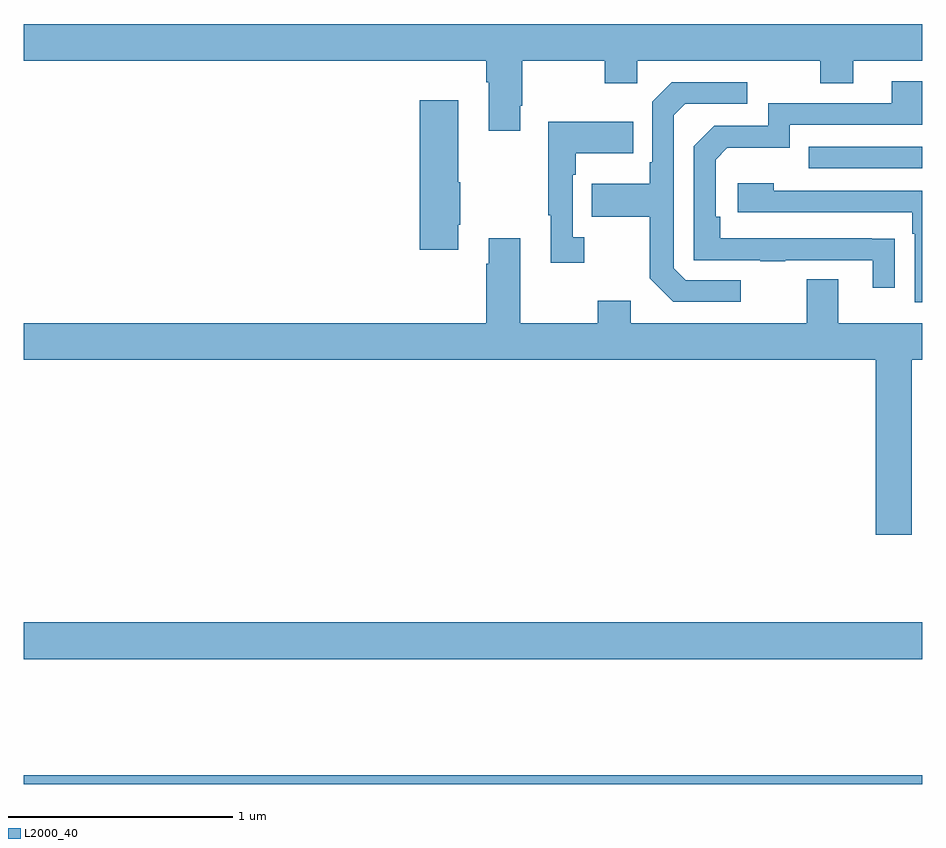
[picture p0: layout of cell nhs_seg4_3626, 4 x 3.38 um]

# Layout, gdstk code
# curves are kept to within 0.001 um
import gdstk
lib = gdstk.Library(unit=1e-6, precision=1e-09)
def R(c, l, rs):  # rectangles x0, y0, x1, y1
    for r in rs: c.add(gdstk.rectangle(r[:2], r[2:], *l))
def P(c, l, *ps):  # polygons
    for p in ps: c.add(gdstk.Polygon(p, *l))
L2000_40 = (2000, 40)

nhs_seg4_3626 = lib.new_cell('nhs_seg4_3626')
R(nhs_seg4_3626, L2000_40, [(301,826.9,305,826.94), (301,827.456,305,827.62), (304.495,829.641,305,829.737)])
P(nhs_seg4_3626, L2000_40, [(303.211,829.921),(303.219,829.921),(303.219,830.12),(303.586,830.12),(303.586,830.021),(303.732,830.021),(303.732,830.12),(304.546,830.12),(304.546,830.021),(304.693,830.021),(304.693,830.12),(305,830.12),(305,830.284),(301,830.284),(301,830.12),(303.059,830.12),(303.059,830.024),(303.071,830.024),(303.071,829.809),(303.211,829.809)],
  [(304.877,829.328),(304.1,829.329),(304.1,829.426),(304.08,829.426),(304.08,829.68),(304.133,829.733),(304.41,829.733),(304.41,829.836),(305,829.836),(305,830.028),(304.865,830.028),(304.865,829.932),(304.314,829.932),(304.314,829.83),(304.074,829.83),(303.984,829.74),(303.984,829.233),(304.279,829.233),(304.279,829.228),(304.391,829.228),(304.391,829.233),(304.781,829.233),(304.781,829.11),(304.877,829.11)],
  [(304.192,829.143),(303.948,829.143),(303.894,829.197),(303.894,829.878),(303.945,829.929),(304.222,829.929),(304.222,830.025),(303.885,830.025),(303.798,829.938),(303.798,829.669),(303.786,829.669),(303.786,829.573),(303.529,829.573),(303.529,829.426),(303.786,829.426),(303.786,829.153),(303.891,829.047),(304.192,829.047)],
  [(302.935,829.39),(302.943,829.39),(302.943,829.579),(302.935,829.579),(302.935,829.945),(302.762,829.945),(302.762,829.278),(302.935,829.278)],
  [(303.496,829.334),(303.444,829.334),(303.444,829.613),(303.457,829.613),(303.457,829.709),(303.713,829.709),(303.713,829.849),(303.336,829.849),(303.336,829.433),(303.347,829.433),(303.347,829.221),(303.496,829.221)],
  [(305,829.542),(304.34,829.542),(304.34,829.576),(304.179,829.576),(304.179,829.446),(304.955,829.446),(304.955,829.349),(304.968,829.349),(304.968,829.044),(305,829.044)],
  [(304.953,828.788),(305,828.788),(305,828.952),(304.627,828.952),(304.627,829.147),(304.487,829.147),(304.487,828.952),(303.703,828.952),(303.703,829.051),(303.556,829.051),(303.556,828.952),(303.211,828.952),(303.211,829.33),(303.071,829.33),(303.071,829.217),(303.059,829.217),(303.059,828.952),(301,828.952),(301,828.788),(304.793,828.788),(304.793,828.009),(304.953,828.009)])

lib.write_gds('nhs_seg4_3626.gds')
